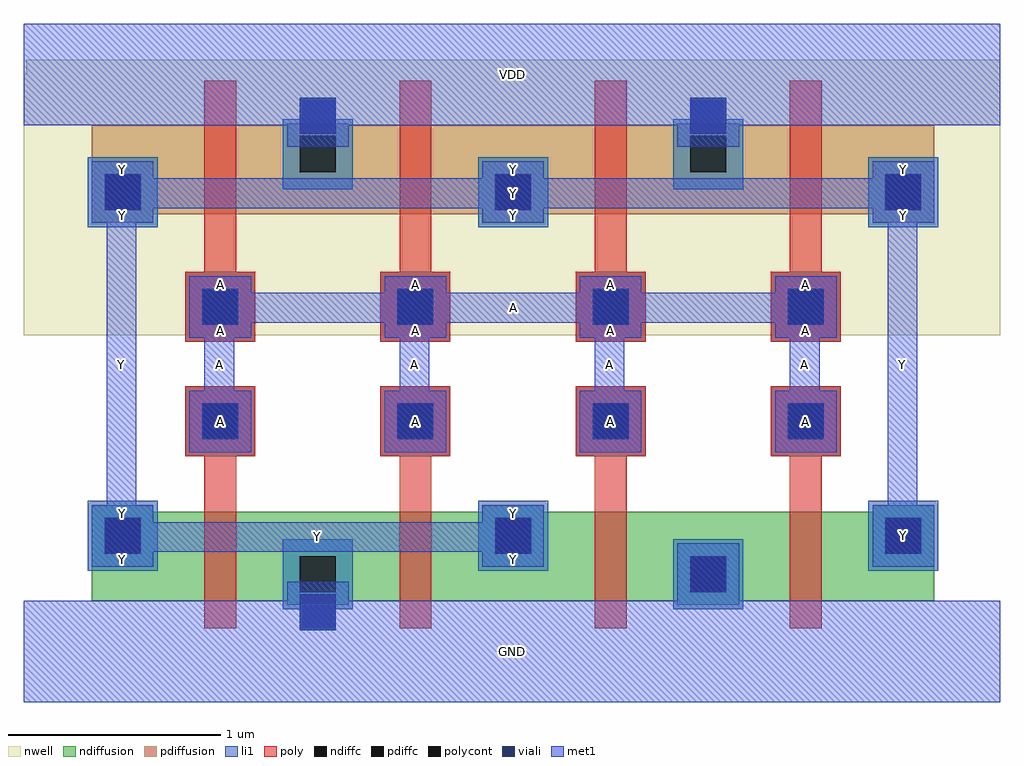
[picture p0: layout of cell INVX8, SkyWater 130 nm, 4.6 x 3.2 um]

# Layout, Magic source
magic
# Generated by librecell
tech sky130A
<< nwell >>
rect 0 149 460 272
rect 1 272 460 279
<< viali >>
rect 130 10 147 27
rect 314 28 331 45
rect 38 46 55 63
rect 222 46 239 63
rect 406 46 423 63
rect 84 100 101 117
rect 176 100 193 117
rect 268 100 285 117
rect 360 100 377 117
rect 84 154 101 171
rect 176 154 193 171
rect 268 154 285 171
rect 360 154 377 171
rect 38 208 55 225
rect 222 208 239 225
rect 406 208 423 225
rect 130 244 147 261
rect 314 244 331 261
<< poly >>
rect 85 11 100 92
rect 76 92 109 125
rect 177 11 192 92
rect 168 92 201 125
rect 269 11 284 92
rect 260 92 293 125
rect 361 11 376 92
rect 352 92 385 125
rect 76 146 109 179
rect 85 179 100 269
rect 168 146 201 179
rect 177 179 192 269
rect 260 146 293 179
rect 269 179 284 269
rect 352 146 385 179
rect 361 179 376 269
<< properties >>
string FIXED_BBOX 0 0 460 272
<< li1 >>
rect 130 10 147 20
rect 122 20 155 53
rect 306 20 339 53
rect 30 38 63 71
rect 214 38 247 71
rect 398 38 431 71
rect 76 92 109 125
rect 168 92 201 125
rect 260 92 293 125
rect 352 92 385 125
rect 76 146 109 179
rect 168 146 201 179
rect 260 146 293 179
rect 352 146 385 179
rect 30 200 63 233
rect 214 200 247 233
rect 398 200 431 233
rect 122 218 155 251
rect 130 251 147 261
rect 306 218 339 251
rect 314 251 331 261
<< met1 >>
rect 0 -24 460 24
rect 124 24 153 33
rect 308 24 337 51
rect 78 94 107 123
rect 170 94 199 123
rect 262 94 291 123
rect 354 94 383 123
rect 85 123 99 148
rect 177 123 191 148
rect 269 123 283 148
rect 361 123 375 148
rect 78 148 107 155
rect 170 148 199 155
rect 262 148 291 155
rect 354 148 383 155
rect 78 155 383 169
rect 78 169 107 177
rect 170 169 199 177
rect 262 169 291 177
rect 354 169 383 177
rect 32 40 61 47
rect 216 40 245 47
rect 32 47 245 61
rect 32 61 61 69
rect 216 61 245 69
rect 400 40 429 69
rect 39 69 53 202
rect 407 69 421 202
rect 32 202 61 209
rect 216 202 245 209
rect 400 202 429 209
rect 32 209 429 223
rect 32 223 61 231
rect 216 223 245 231
rect 400 223 429 231
rect 124 238 153 248
rect 308 238 337 248
rect 0 248 460 296
<< li1 >>
<< met1 >>
<< li1 >>
<< met1 >>
rect 0 -24 460 24
rect 78 94 107 123
rect 170 94 199 123
rect 262 94 291 123
rect 354 94 383 123
rect 85 123 99 148
rect 177 123 191 148
rect 269 123 283 148
rect 361 123 375 148
rect 78 148 107 155
rect 170 148 199 155
rect 262 148 291 155
rect 354 148 383 155
rect 78 155 383 169
rect 78 169 107 177
rect 170 169 199 177
rect 262 169 291 177
rect 354 169 383 177
rect 32 40 61 47
rect 216 40 245 47
rect 32 47 245 61
rect 32 61 61 69
rect 216 61 245 69
rect 400 40 429 69
rect 39 69 53 202
rect 407 69 421 202
rect 32 202 61 209
rect 216 202 245 209
rect 400 202 429 209
rect 32 209 429 223
rect 32 223 61 231
rect 216 223 245 231
rect 400 223 429 231
rect 0 248 460 296
<< ndiffusion >>
rect 124 22 153 24
rect 308 22 337 24
rect 32 24 429 66
rect 32 66 61 69
rect 216 66 245 69
rect 400 66 429 69
<< pdiffusion >>
rect 32 202 61 206
rect 216 202 245 206
rect 400 202 429 206
rect 32 206 429 248
rect 124 248 153 249
rect 308 248 337 249
<< polycont >>
rect 84 100 101 117
rect 176 100 193 117
rect 268 100 285 117
rect 360 100 377 117
rect 84 154 101 171
rect 176 154 193 171
rect 268 154 285 171
rect 360 154 377 171
<< pdiffc >>
rect 38 208 55 225
rect 222 208 239 225
rect 406 208 423 225
rect 130 226 147 243
rect 314 226 331 243
<< ndiffc >>
rect 130 28 147 45
rect 314 28 331 45
rect 38 46 55 63
rect 222 46 239 63
rect 406 46 423 63
<< labels >>
rlabel metal2 0 248 460 296 0 VDD
port 1 se
rlabel metal2 0 -24 460 24 0 GND
port 2 se
rlabel metal2 32 40 61 47 0 Y
port 3 se
rlabel metal2 216 40 245 47 0 Y
port 4 se
rlabel metal2 32 47 245 61 0 Y
port 5 se
rlabel metal2 32 61 61 69 0 Y
port 6 se
rlabel metal2 216 61 245 69 0 Y
port 7 se
rlabel metal2 400 40 429 69 0 Y
port 8 se
rlabel metal2 39 69 53 202 0 Y
port 9 se
rlabel metal2 407 69 421 202 0 Y
port 10 se
rlabel metal2 32 202 61 209 0 Y
port 11 se
rlabel metal2 216 202 245 209 0 Y
port 12 se
rlabel metal2 400 202 429 209 0 Y
port 13 se
rlabel metal2 32 209 429 223 0 Y
port 14 se
rlabel metal2 32 223 61 231 0 Y
port 15 se
rlabel metal2 216 223 245 231 0 Y
port 16 se
rlabel metal2 400 223 429 231 0 Y
port 17 se
rlabel metal2 78 94 107 123 0 A
port 18 se
rlabel metal2 170 94 199 123 0 A
port 19 se
rlabel metal2 262 94 291 123 0 A
port 20 se
rlabel metal2 354 94 383 123 0 A
port 21 se
rlabel metal2 85 123 99 148 0 A
port 22 se
rlabel metal2 177 123 191 148 0 A
port 23 se
rlabel metal2 269 123 283 148 0 A
port 24 se
rlabel metal2 361 123 375 148 0 A
port 25 se
rlabel metal2 78 148 107 155 0 A
port 26 se
rlabel metal2 170 148 199 155 0 A
port 27 se
rlabel metal2 262 148 291 155 0 A
port 28 se
rlabel metal2 354 148 383 155 0 A
port 29 se
rlabel metal2 78 155 383 169 0 A
port 30 se
rlabel metal2 78 169 107 177 0 A
port 31 se
rlabel metal2 170 169 199 177 0 A
port 32 se
rlabel metal2 262 169 291 177 0 A
port 33 se
rlabel metal2 354 169 383 177 0 A
port 34 se
<< end >>
